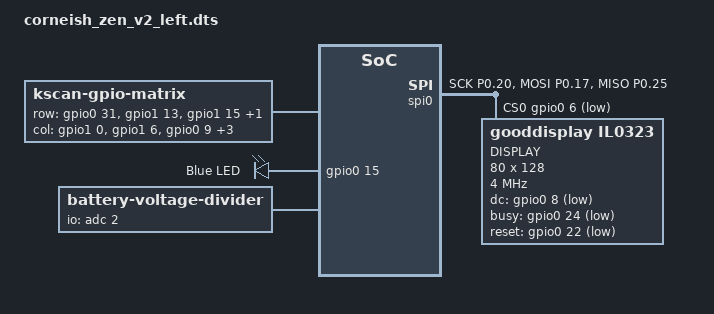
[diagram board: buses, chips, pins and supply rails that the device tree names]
/*
*
* Copyright (c) 2021 Darryl deHaan
* SPDX-License-Identifier: MIT
*
*/

#include "corneish_zen.dtsi"

/{
    chosen {
        zephyr,display = &epd;
        zmk,battery = &vbatt;
    };

    kscan0: kscan {
        compatible = "zmk,kscan-gpio-matrix";
        label = "KSCAN";

        diode-direction = "col2row";
        row-gpios
            = <&gpio0 31 (GPIO_ACTIVE_HIGH | GPIO_PULL_DOWN)>
            , <&gpio1 13 (GPIO_ACTIVE_HIGH | GPIO_PULL_DOWN)>
            , <&gpio1 15 (GPIO_ACTIVE_HIGH | GPIO_PULL_DOWN)>
            , <&gpio0 2 (GPIO_ACTIVE_HIGH | GPIO_PULL_DOWN)>
            ;

        col-gpios
            = <&gpio1 0 GPIO_ACTIVE_HIGH>
            , <&gpio1 6 GPIO_ACTIVE_HIGH>
            , <&gpio0 9 GPIO_ACTIVE_HIGH>
            , <&gpio0  10 GPIO_ACTIVE_HIGH>
            , <&gpio1  11 GPIO_ACTIVE_HIGH>
            , <&gpio0  29 GPIO_ACTIVE_HIGH>
            ;
    };

    leds {
        compatible = "gpio-leds";
        blue_led: led_0 {
            gpios = <&gpio0 15 GPIO_ACTIVE_HIGH>;
            label = "Blue LED";
        };
    };

    vbatt: vbatt {
        compatible = "zmk,battery-voltage-divider";
        label = "BATTERY";
        io-channels = <&adc 2>;
        output-ohms = <2000000>;
        full-ohms = <(2000000  + 806000)>;
    };

};

&pinctrl {
    spi0_default: spi0_default {
        group1 {
            psels = <NRF_PSEL(SPIM_SCK, 0, 20)>,
                <NRF_PSEL(SPIM_MOSI, 0, 17)>,
                <NRF_PSEL(SPIM_MISO, 0, 25)>;
        };
    };

    spi0_sleep: spi0_sleep {
        group1 {
            psels = <NRF_PSEL(SPIM_SCK, 0, 20)>,
                <NRF_PSEL(SPIM_MOSI, 0, 17)>,
                <NRF_PSEL(SPIM_MISO, 0, 25)>;
            low-power-enable;
        };
    };
};

&spi0 {
    status = "okay";
    compatible = "nordic,nrf-spim";
    pinctrl-0 = <&spi0_default>;
    pinctrl-1 = <&spi0_sleep>;
    pinctrl-names = "default", "sleep";
    cs-gpios = <&gpio0 6 GPIO_ACTIVE_LOW>;

    epd: il0323@0 {
        compatible = "gooddisplay,il0323";
        reg =  <0>;
        label = "DISPLAY";
        width = <80>;
        height = <128>;
        spi-max-frequency = <4000000>;
        dc-gpios = <&gpio0 8 GPIO_ACTIVE_LOW>;
        busy-gpios = <&gpio0 24 GPIO_ACTIVE_LOW>;
        reset-gpios = <&gpio0 22 GPIO_ACTIVE_LOW>;
        pwr = [03 00 26 26];
        cdi = <0xd2>;
        tcon = <0x22>;
    };
};
